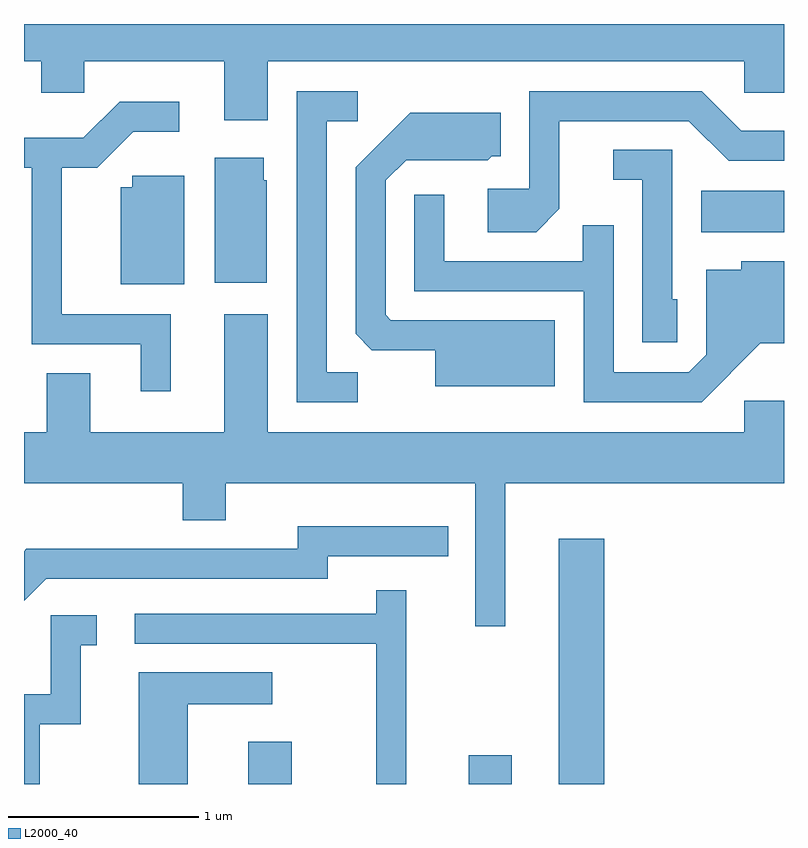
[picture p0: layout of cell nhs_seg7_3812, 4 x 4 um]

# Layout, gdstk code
import gdstk
lib = gdstk.Library(unit=1e-6, precision=1e-09)
def R(c, l, rs):  # rectangles x0, y0, x1, y1
    for r in rs: c.add(gdstk.rectangle(r[:2], r[2:], *l))
def P(c, l, *ps):  # polygons
    for p in ps: c.add(gdstk.Polygon(p, *l))
L2000_40 = (2000, 40)

nhs_seg7_3812 = lib.new_cell('nhs_seg7_3812')
R(nhs_seg7_3812, L2000_40, [(302.791,1748.252,303.019,1748.474), (303.951,1748.252,304.179,1748.404), (304.426,1748.252,304.664,1749.544), (305.176,1751.156,305.611,1751.374)])
P(nhs_seg7_3812, L2000_40, [(302.894,1752.056),(305.401,1752.056),(305.401,1751.891),(305.611,1751.891),(305.611,1752.252),(301.611,1752.252),(301.611,1752.056),(301.701,1752.056),(301.701,1751.891),(301.929,1751.891),(301.929,1752.056),(302.666,1752.056),(302.666,1751.746),(302.894,1751.746)],
  [(304.429,1751.279),(304.429,1751.741),(305.109,1751.741),(305.319,1751.531),(305.611,1751.531),(305.611,1751.689),(305.387,1751.689),(305.177,1751.899),(304.271,1751.899),(304.271,1751.384),(304.051,1751.384),(304.051,1751.156),(304.307,1751.156)],
  [(303.368,1750.419),(303.204,1750.419),(303.204,1751.741),(303.368,1751.741),(303.368,1751.899),(303.046,1751.899),(303.046,1750.261),(303.368,1750.261)],
  [(302.384,1750.724),(301.809,1750.724),(301.809,1751.496),(301.997,1751.496),(302.187,1751.686),(302.428,1751.686),(302.428,1751.844),(302.114,1751.844),(301.924,1751.654),(301.611,1751.654),(301.611,1751.496),(301.651,1751.496),(301.651,1750.566),(302.226,1750.566),(302.226,1750.318),(302.384,1750.318)],
  [(304.404,1750.694),(303.542,1750.694),(303.514,1750.722),(303.514,1751.429),(303.622,1751.536),(304.052,1751.536),(304.072,1751.556),(304.119,1751.556),(304.119,1751.784),(303.644,1751.784),(303.356,1751.497),(303.356,1750.622),(303.442,1750.536),(303.776,1750.536),(303.776,1750.346),(304.404,1750.346)],
  [(305.049,1750.804),(305.024,1750.804),(305.024,1751.589),(304.713,1751.589),(304.713,1751.431),(304.866,1751.431),(304.866,1750.576),(305.049,1750.576)],
  [(302.889,1751.43),(302.874,1751.43),(302.874,1751.549),(302.616,1751.549),(302.616,1750.891),(302.889,1750.891)],
  [(302.454,1751.454),(302.181,1751.454),(302.181,1751.394),(302.121,1751.394),(302.121,1750.881),(302.454,1750.881)],
  [(305.487,1750.571),(305.611,1750.571),(305.611,1751.004),(305.386,1751.004),(305.386,1750.959),(305.201,1750.959),(305.201,1750.512),(305.109,1750.419),(304.714,1750.419),(304.714,1751.193),(304.551,1751.193),(304.551,1751.004),(303.824,1751.004),(303.824,1751.353),(303.666,1751.353),(303.666,1750.846),(304.556,1750.846),(304.556,1750.261),(305.177,1750.261)],
  [(304.144,1749.836),(305.611,1749.836),(305.611,1750.269),(305.401,1750.269),(305.401,1750.104),(302.894,1750.104),(302.894,1750.724),(302.666,1750.724),(302.666,1750.104),(301.959,1750.104),(301.959,1750.414),(301.731,1750.414),(301.731,1750.104),(301.611,1750.104),(301.611,1749.836),(302.446,1749.836),(302.446,1749.641),(302.674,1749.641),(302.674,1749.836),(303.986,1749.836),(303.986,1749.083),(304.144,1749.083)],
  [(301.727,1749.331),(303.209,1749.331),(303.209,1749.451),(303.843,1749.451),(303.843,1749.609),(303.051,1749.609),(303.051,1749.489),(301.624,1749.489),(301.611,1749.476),(301.611,1749.216)],
  [(303.624,1749.273),(303.466,1749.273),(303.466,1749.149),(302.193,1749.149),(302.193,1748.991),(303.466,1748.991),(303.466,1748.252),(303.624,1748.252)],
  [(301.694,1748.566),(301.909,1748.566),(301.909,1748.981),(301.993,1748.981),(301.993,1749.139),(301.751,1749.139),(301.751,1748.724),(301.611,1748.724),(301.611,1748.252),(301.694,1748.252)],
  [(302.474,1748.671),(302.918,1748.671),(302.918,1748.839),(302.216,1748.839),(302.216,1748.252),(302.474,1748.252)])

lib.write_gds('nhs_seg7_3812.gds')
